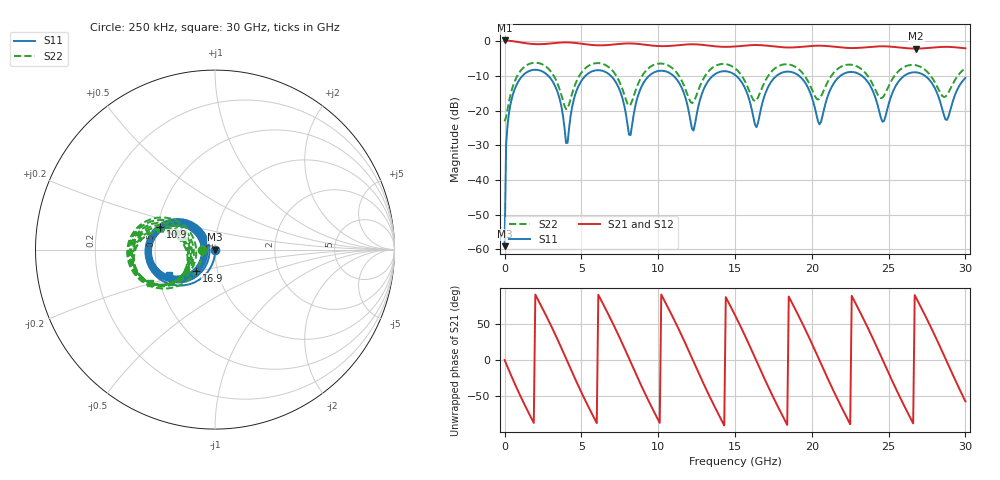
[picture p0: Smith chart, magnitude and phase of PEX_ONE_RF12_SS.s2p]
! Port 1 = P1 P2
! Port 2 = P2 P2
# hz S ri R 50
! freq  reS11  imS11  reS21  imS21  reS12  imS12  reS22  imS22
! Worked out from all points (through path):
!   301 points, 250 kHz to 30 GHz, reference 50 ohm
!   highest |S21| = 0.22 dB at 250 kHz (marker M1); lowest = -2.1 dB at 26.8 GHz (marker M2)
!   lowest |S11| = -59.1 dB at 250 kHz (marker M3), VSWR 1.00, Z = 50.1 - j0.01 ohm
!   |S11| at or under -10 dB: 15.08 GHz to 17.7 GHz (2.617 GHz wide, 16 % of centre); 19.18 GHz to 21.86 GHz (2.681 GHz wide, 13.1 % of centre); 23.27 GHz to 26.01 GHz (2.737 GHz wide, 11.1 % of centre)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
!   |S22| runs from -23.1 to -6.2 dB; largest |S21 - S12| = 0
!   S11 on the Smith chart (normalised r, x): 250 kHz: 1.00, -0.00; 10.9 GHz: 0.52, +0.15; 16.9 GHz: 0.79, -0.19; 30 GHz: 0.57, -0.18
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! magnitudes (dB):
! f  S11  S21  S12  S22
! 250 kHz  -59.1  0.2  0.2  -23.1
! 100.2 MHz  -29.7  0.2  0.2  -21.8
! 200.2 MHz  -23.7  0.2  0.2  -19.4
! 800.2 MHz  -12.4  -0.2  -0.2  -10.2
! 2.9 GHz  -10.2  -0.7  -0.7  -8.1
! 4.1 GHz  -29.3  -0.3  -0.3  -19.4
! 5.1 GHz  -10.8  -0.8  -0.8  -8.5
! 7 GHz  -10.4  -1.0  -1.0  -8.4
! 8.2 GHz  -27.0  -0.6  -0.6  -18.2
! 10.1 GHz  -8.5  -1.4  -1.4  -6.4
! 10.9 GHz  -9.6  -1.3  -1.3  -7.7
! 12.3 GHz  -25.7  -0.9  -0.9  -17.5
! 13.3 GHz  -11.2  -1.3  -1.3  -8.6
! 15.1 GHz  -10.1  -1.5  -1.5  -8.2
! 16.4 GHz  -24.8  -1.1  -1.1  -17.0
! 16.9 GHz  -16.0  -1.2  -1.2  -12.1
! 20.1 GHz  -17.5  -1.3  -1.3  -14.8
! 22.5 GHz  -8.9  -2.0  -2.0  -6.8
! 25.1 GHz  -16.7  -1.5  -1.5  -12.1
! 26.8 GHz  -9.0  -2.1  -2.1  -7.0
! 28.8 GHz  -22.7  -1.6  -1.6  -15.5
! 30 GHz  -10.6  -2.0  -2.0  -7.8
